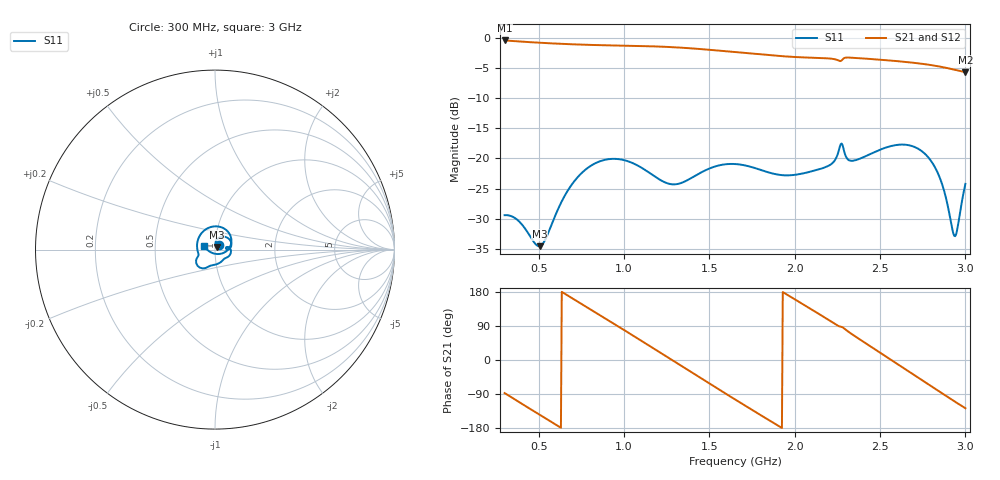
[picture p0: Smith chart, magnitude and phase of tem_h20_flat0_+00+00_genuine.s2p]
! tem_h20_flat0_+00+00_genuine
! simulated by sim/fixtures_fdtd.py (S12 = S21, S22 not computed)
# HZ S RI R 50
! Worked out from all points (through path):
!   541 points, 300 MHz to 3 GHz, reference 50 ohm
!   highest |S21| = -0.48 dB at 300 MHz (marker M1); lowest = -5.7 dB at 3 GHz (marker M2)
!   group delay of S21, straight-line fit = 778 ps
!   lowest |S11| = -34.5 dB at 505 MHz (marker M3), VSWR 1.04, Z = 51.1 + j1.57 ohm
!   |S11| at or under -10 dB: start of sweep to end of sweep
!   |S22| runs from - to - dB; largest |S21 - S12| = 0
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3e8  0.0228 0.0249  0.0456 -0.9457  0.0456 -0.9457  0 0
5.05e8  0.0107 0.0154  -0.7372 -0.5275  -0.7372 -0.5275  0 0
6.25e8  0.00342 0.0411  -0.8878 -0.0391  -0.8878 -0.0391  0 0
7.5e8  0.0292 0.0693  -0.7429 0.4613  -0.7429 0.4613  0 0
8.65e8  0.0681 0.0665  -0.386 0.7741  -0.386 0.7741  0 0
9.75e8  0.0901 0.0389  0.0591 0.8563  0.0591 0.8563  0 0
1.08e9  0.0864 0.0114  0.4679 0.7128  0.4679 0.7128  0 0
1.2e9  0.0678 0.00103  0.7771 0.3273  0.7771 0.3273  0 0
1.325e9  0.0609 0.0106  0.8066 -0.1813  0.8066 -0.1813  0 0
1.46e9  0.0764 0.013  0.5051 -0.6217  0.5051 -0.6217  0 0
1.65e9  0.0873 -0.0206  -0.1838 -0.7357  -0.1838 -0.7357  0 0
1.875e9  0.0577 -0.0473  -0.6886 -0.1742  -0.6886 -0.1742  0 0
2.1e9  0.0265 -0.0734  -0.4655 0.4975  -0.4655 0.4975  0 0
2.27e9  -0.0848 -0.1004  0.0221 0.6398  0.0221 0.6398  0 0
2.31e9  -0.0926 -0.0334  0.1644 0.6636  0.1644 0.6636  0 0
2.435e9  -0.0977 0.0442  0.5208 0.4159  0.5208 0.4159  0 0
2.55e9  -0.0463 0.1159  0.6451 0.0563  0.6451 0.0563  0 0
2.665e9  0.0441 0.1209  0.548 -0.3013  0.548 -0.3013  0 0
2.795e9  0.0902 0.0351  0.2276 -0.5478  0.2276 -0.5478  0 0
2.865e9  0.059 -0.012  0.0168 -0.5698  0.0168 -0.5698  0 0
2.935e9  -0.00288 -0.0226  -0.1751 -0.5136  -0.1751 -0.5136  0 0
3e9  -0.0589 0.0174  -0.3127 -0.4114  -0.3127 -0.4114  0 0
